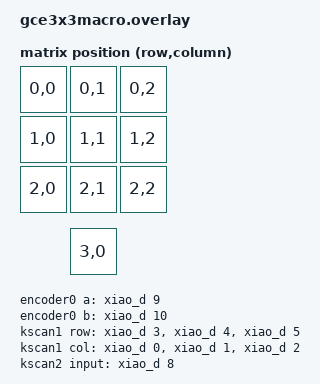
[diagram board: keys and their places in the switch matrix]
#include <dt-bindings/zmk/matrix_transform.h>
#include <physical_layouts.dtsi>

/ {
    /* Define the physical layout for ZMK Studio */
    macropad_physical_layout: macropad_physical_layout {
        compatible = "zmk,physical-layout";
        display-name = "Default Layout";
        kscan = <&composite_kscan>;
        transform = <&default_transform>;
        keys
            /* Row 1 (Top) */
            = <&key_physical_attrs 100 100 0 0 0 0 0>
            , <&key_physical_attrs 100 100 100 0 0 0 0>
            , <&key_physical_attrs 100 100 200 0 0 0 0>
            /* Row 2 (Middle) */
            , <&key_physical_attrs 100 100 0 100 0 0 0>
            , <&key_physical_attrs 100 100 100 100 0 0 0>
            , <&key_physical_attrs 100 100 200 100 0 0 0>
            /* Row 3 (Bottom) */
            , <&key_physical_attrs 100 100 0 200 0 0 0>
            , <&key_physical_attrs 100 100 100 200 0 0 0>
            , <&key_physical_attrs 100 100 200 200 0 0 0>
            /* Encoder Button (Placed centered below the grid) */
            , <&key_physical_attrs 100 100 100 325 0 0 0>
            ;
    };

    chosen {
        zmk,kscan = &composite_kscan;
        zmk,matrix-transform = &default_transform;
        zmk,physical-layout = &macropad_physical_layout;
    };

    sensors {
        compatible = "zmk,keymap-sensors";

        sensors = <&encoder0>;

        triggers-per-rotation = <10>;
    };

    encoder0: encoder0 {
        compatible = "alps,ec11";

        a-gpios = <&xiao_d 9 (GPIO_ACTIVE_LOW | GPIO_PULL_UP)>;
        b-gpios = <&xiao_d 10 (GPIO_ACTIVE_LOW | GPIO_PULL_UP)>;

        steps = <20>;

        status = "okay";
    };

    default_transform: matrix_transform {
        compatible = "zmk,matrix-transform";

        rows = <4>;
        columns = <3>;

        map = <
            RC(0,0) RC(0,1) RC(0,2)
            RC(1,0) RC(1,1) RC(1,2)
            RC(2,0) RC(2,1) RC(2,2)
            RC(3,0)
        >;
    };

    composite_kscan: kscan_composite {
        compatible = "zmk,kscan-composite";

        rows = <4>;
        columns = <3>;

        matrix {
            kscan = <&kscan1>;
        };

        direct {
            kscan = <&kscan2>;
            row-offset = <3>;
        };
    };

    kscan1: kscan_matrix {
        compatible = "zmk,kscan-gpio-matrix";

        diode-direction = "col2row";

        row-gpios = <
            &xiao_d 3 (GPIO_ACTIVE_HIGH | GPIO_PULL_DOWN)
            &xiao_d 4 (GPIO_ACTIVE_HIGH | GPIO_PULL_DOWN)
            &xiao_d 5 (GPIO_ACTIVE_HIGH | GPIO_PULL_DOWN)
        >;

        col-gpios = <
            &xiao_d 0 GPIO_ACTIVE_HIGH
            &xiao_d 1 GPIO_ACTIVE_HIGH
            &xiao_d 2 GPIO_ACTIVE_HIGH
        >;
    };

    kscan2: kscan_direct {
        compatible = "zmk,kscan-gpio-direct";

        input-gpios =
            <&xiao_d 8 (GPIO_ACTIVE_LOW | GPIO_PULL_UP)>;
    };
};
